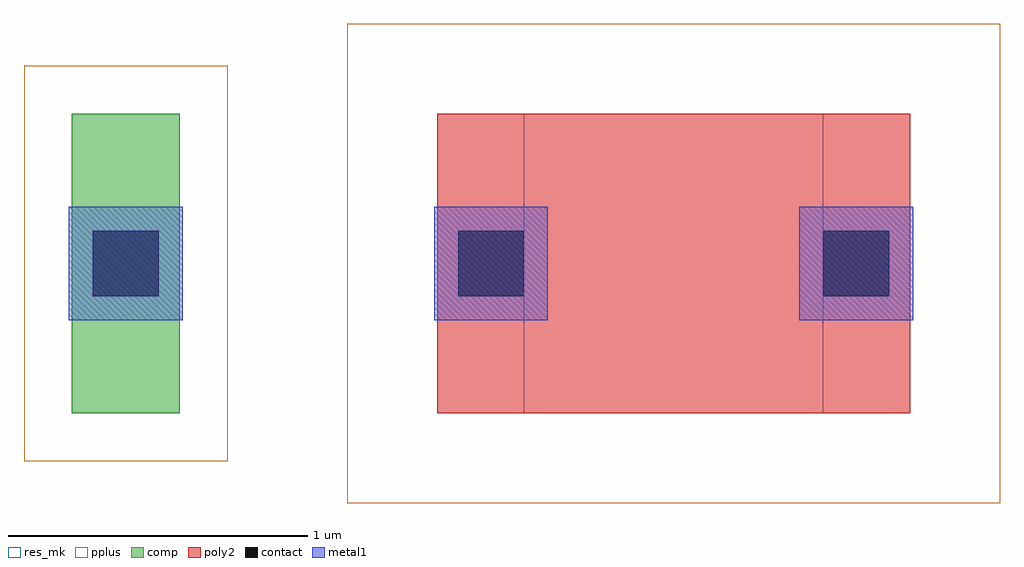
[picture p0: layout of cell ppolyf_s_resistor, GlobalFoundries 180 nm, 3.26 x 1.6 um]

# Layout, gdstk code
import gdstk
lib = gdstk.Library(unit=1e-6, precision=1e-09)
def R(c, l, rs):  # rectangles x0, y0, x1, y1
    for r in rs: c.add(gdstk.rectangle(r[:2], r[2:], *l))
def A(c, l, x, y, w, h, nx, ny, dx, dy):  # array of equal rectangles
    R(c, l, [(x+i*dx, y+j*dy, x+i*dx+w, y+j*dy+h) for i in range(nx) for j in range(ny)])
comp = (22, 0)
poly2 = (30, 0)
pplus = (31, 0)
contact = (33, 0)
metal1 = (34, 0)
res_mk = (110, 5)

ppolyf_s_resistor = lib.new_cell('ppolyf_s_resistor')
R(ppolyf_s_resistor, comp, [(-1.51,0,-1.15,1)])
R(ppolyf_s_resistor, poly2, [(-0.29,0,1.29,1)])
R(ppolyf_s_resistor, pplus, [(-0.59,-0.3,1.59,1.3), (-1.67,-0.16,-0.99,1.16)])
A(ppolyf_s_resistor, contact, -1.44, 0.39, 0.22, 0.22, 3, 1, 1.22, 0)
A(ppolyf_s_resistor, metal1, -1.52, 0.31, 0.38, 0.38, 3, 1, 1.22, 0)
R(ppolyf_s_resistor, res_mk, [(0,0,1,1)])

lib.write_gds('ppolyf_s_resistor.gds')
